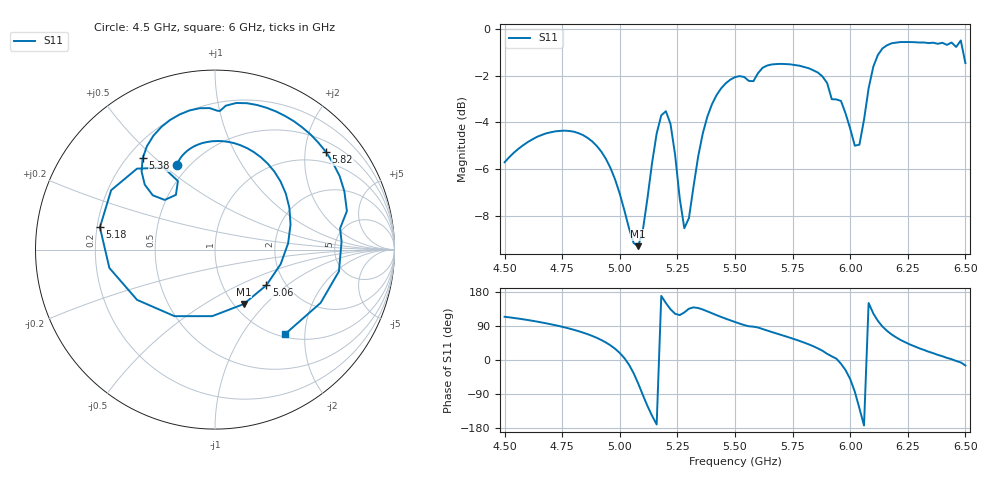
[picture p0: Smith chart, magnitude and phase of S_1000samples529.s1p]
! TOUCHSTONE file generated by CST MICROWAVE STUDIO
! Date and time: Fri Oct 28 11:42:39 2022
! Project name: L.cst
! Parameters = {Di=1.27; Epsilon_r=1.56; InnerDiameter=1.27; Length=2; Lf=10; Lg=60; OuterConductorThickness=0.2921; OuterDiameter=3.6; Wf=3; Wp=41.2; de=1.5; df=6.8; g=0.8; gx=0.577514; gy=2.29351; h=2.34; hf=1.524; px=13.2147; py=9.32877; w=9.7; wx=12.6372; wy=7.03526}
! Header version: 2018
! Port assignment regex: !\s*Touchstone port\s*([0-9]+)\s*=\s*(CST MWS port|CST DS port)\s*([0-9]+|Zmin|Zmax)\s*\(\"(.*)\"\)(\s*mode\s*([0-9]+))?.*
! Touchstone port assignment:
! Touchstone port 1 = CST MWS port 1 ("")
# GHz S DB R 50
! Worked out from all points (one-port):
!   101 points, 4.5 GHz to 6.5 GHz, reference 50 ohm
!   lowest |S11| = -9.3 dB at 5.08 GHz (marker M1), VSWR 2.04, Z = 55.3 - j38 ohm
!   |S11| at or under -10 dB: nowhere
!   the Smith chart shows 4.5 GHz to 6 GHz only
!   S11 on the Smith chart (normalised r, x): 4.5 GHz: 0.43, +0.56; 5.06 GHz: 1.60, -0.72; 5.18 GHz: 0.21, +0.09; 5.38 GHz: 0.26, +0.46; 5.82 GHz: 0.73, +2.47; 6 GHz: 1.05, -1.59
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4.5  -5.70 114.0
4.76  -4.35 86.2
4.9  -5.01 58.5
5  -7.06 18.5
5.06  -9.16 -34.7
5.08  -9.29 -62.2
5.12  -7.25 -121.3
5.18  -3.70 169.1
5.22  -4.06 133.9
5.26  -7.25 118.4
5.3  -8.09 135.4
5.38  -3.76 128.4
5.5  -2.07 100.3
5.76  -1.55 54.5
5.82  -1.69 41.3
5.96  -3.08 -9.9
6  -4.27 -50.3
6.02  -5.00 -83.5
6.04  -4.95 -127.4
6.06  -3.89 -172.9
6.08  -2.54 150.4
6.1  -1.63 123.0
6.14  -0.84 88.3
6.2  -0.59 59.5
6.26  -0.57 40.8
6.4  -0.60 10.0
6.48  -0.50 -6.3
6.5  -1.46 -14.5
